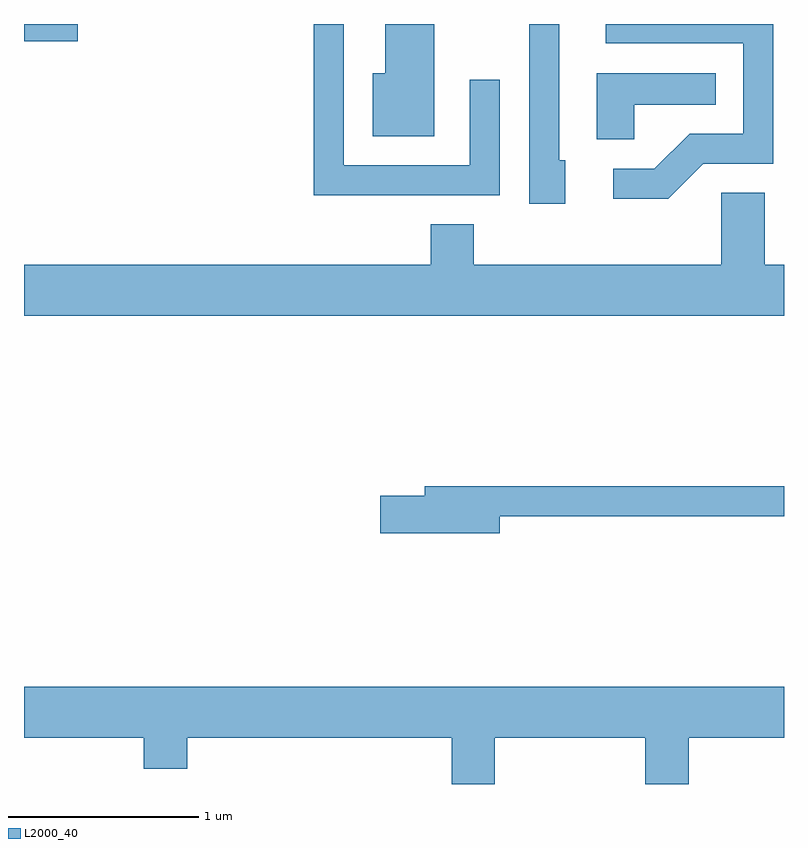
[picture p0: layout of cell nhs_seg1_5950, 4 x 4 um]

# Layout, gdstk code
import gdstk
lib = gdstk.Library(unit=1e-6, precision=1e-09)
def R(c, l, rs):  # rectangles x0, y0, x1, y1
    for r in rs: c.add(gdstk.rectangle(r[:2], r[2:], *l))
def P(c, l, *ps):  # polygons
    for p in ps: c.add(gdstk.Polygon(p, *l))
L2000_40 = (2000, 40)

nhs_seg1_5950 = lib.new_cell('nhs_seg1_5950')
R(nhs_seg1_5950, L2000_40, [(363.611,967.621,363.894,967.712)])
P(nhs_seg1_5950, L2000_40, [(366.114,967.418),(365.956,967.418),(365.956,966.969),(365.294,966.969),(365.294,967.712),(365.136,967.712),(365.136,966.811),(366.114,966.811)],
  [(367.187,966.976),(367.554,966.976),(367.554,967.712),(366.673,967.712),(366.673,967.611),(367.396,967.611),(367.396,967.134),(367.114,967.134),(366.929,966.949),(366.713,966.949),(366.713,966.791),(367.002,966.791)],
  [(365.769,967.712),(365.511,967.712),(365.511,967.454),(365.446,967.454),(365.446,967.121),(365.769,967.121)],
  [(366.459,966.994),(366.429,966.994),(366.429,967.712),(366.271,967.712),(366.271,966.766),(366.459,966.766)],
  [(366.824,967.286),(367.253,967.286),(367.253,967.454),(366.626,967.454),(366.626,967.106),(366.824,967.106)],
  [(367.611,966.444),(367.509,966.444),(367.509,966.824),(367.281,966.824),(367.281,966.444),(365.979,966.444),(365.979,966.659),(365.751,966.659),(365.751,966.444),(363.611,966.444),(363.611,966.176),(367.611,966.176)],
  [(366.114,965.121),(367.611,965.121),(367.611,965.279),(365.721,965.279),(365.721,965.229),(365.486,965.229),(365.486,965.031),(366.114,965.031)],
  [(366.089,963.956),(366.881,963.956),(366.881,963.712),(367.109,963.712),(367.109,963.956),(367.611,963.956),(367.611,964.224),(363.611,964.224),(363.611,963.956),(364.241,963.956),(364.241,963.791),(364.469,963.791),(364.469,963.956),(365.861,963.956),(365.861,963.712),(366.089,963.712)])

lib.write_gds('nhs_seg1_5950.gds')
